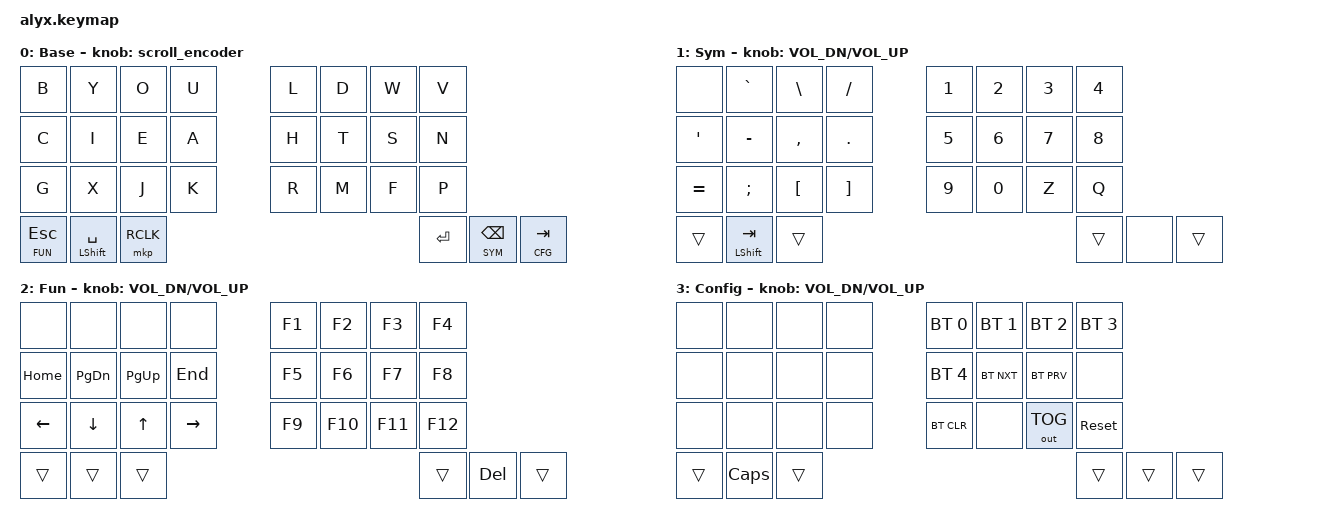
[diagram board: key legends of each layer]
/*
 * Copyright (c) 2020 The ZMK Contributors
 *
 * SPDX-License-Identifier: MIT
 */

#include <behaviors.dtsi>
#include <dt-bindings/zmk/keys.h>
#include <dt-bindings/zmk/bt.h>
#include <dt-bindings/zmk/outputs.h>
#include <dt-bindings/zmk/pointing.h>

#define BAS 0
#define SYM 1
#define FUN 2
#define CFG 3

&mmv {
	trigger-period-ms = <12>;
};

&msc {
	trigger-period-ms = <12>;
	time-to-max-speed-ms = <50>;
	acceleration-exponent = <1>;
};

/ {
	behaviors {
		scroll_encoder: scroll_encoder {
			compatible = "zmk,behavior-sensor-rotate";
			#sensor-binding-cells = <0>;
			bindings = <&msc MOVE_Y(72)>, <&msc MOVE_Y(-72)>;
			tap-ms = <20>;
		};
	};

	macros {
		ZMK_MACRO(save,
			wait-ms = <30>;
			tap-ms = <40>;
			bindings = <&macro_tap &kp ESC &kp COLON &kp W &kp RET>;
		)
	};

	combos {
		compatible = "zmk,combos";
		combos_lgui  { key-positions = <0  8>;  bindings = <&kp LGUI>;  timeout-ms = <50>; };
		combos_lalt  { key-positions = <1  9>;  bindings = <&kp LALT>;  timeout-ms = <50>; };
		combos_lshft { key-positions = <2  10>;  bindings = <&kp LSHFT>; timeout-ms = <50>; };
		combos_lctrl { key-positions = <3  11>;  bindings = <&kp LCTRL>; timeout-ms = <50>; };
		combos_rctrl { key-positions = <4 12>; bindings = <&kp RCTRL>; timeout-ms = <50>; };
		combos_rshft { key-positions = <5 13>; bindings = <&kp RSHFT>; timeout-ms = <50>; };
		combos_ralt  { key-positions = <6 14>; bindings = <&kp RALT>;  timeout-ms = <50>; };
		combos_rgui  { key-positions = <7 15>; bindings = <&kp RGUI>;  timeout-ms = <50>; };
		combos_mclk  { key-positions = <24 25>; bindings = <&mkp MCLK>; timeout-ms = <50>; };
	};

	keymap {
		compatible = "zmk,keymap";
		base_layer {
			display-name = "Base";
			bindings = <
	&kp B &kp Y &kp O &kp U          &kp L &kp D &kp W &kp V      
	&kp C &kp I &kp E &kp A          &kp H &kp T &kp S &kp N       
	&kp G &kp X &kp J &kp K          &kp R &kp M &kp F &kp P     
	&lt FUN ESC &mt LSHFT SPC &mkp RCLK    &kp RET &lt SYM BSPC &lt CFG TAB
			>;
			sensor-bindings = <&scroll_encoder>;
		};

		sym_layer {
			display-name = "Sym";
			bindings = <
	  &none     &kp GRAVE &kp BSLH  &kp FSLH      &kp N1 &kp N2 &kp N3 &kp N4
      &kp SQT   &kp MINUS &kp COMMA &kp DOT       &kp N5 &kp N6 &kp N7 &kp N8
      &kp EQUAL &kp SEMI  &kp LBKT  &kp RBKT      &kp N9 &kp N0 &kp Z  &kp Q
                &trans &mt LSHFT TAB &trans &trans &none &trans
			>;
			sensor-bindings = <&inc_dec_kp C_VOL_DN C_VOL_UP>;
		};

		fun_layer {
			display-name = "Fun";
			bindings = <
      &none    &none     &none     &none     &kp F1  &kp F2  &kp F3  &kp F4
      &kp HOME &kp PG_DN &kp PG_UP &kp END   &kp F5  &kp F6  &kp F7  &kp F8
      &kp LEFT &kp DOWN  &kp UP    &kp RIGHT &kp F9  &kp F10 &kp F11 &kp F12
      &trans &trans    &trans    &trans &kp DEL &trans
			>;
			sensor-bindings = <&inc_dec_kp C_VOL_DN C_VOL_UP>;
		};

		cfg_layer {
			display-name = "Config";
			bindings = <
      &none &none &none &none    &bt BT_SEL 0 &bt BT_SEL 1 &bt BT_SEL 2 &bt BT_SEL 3
      &none &none &none &none    &bt BT_SEL 4 &bt BT_NXT   &bt BT_PRV   &none
      &none &none &none &none    &bt BT_CLR   &none        &out OUT_TOG &sys_reset
       &trans &kp CAPS &trans    &trans       &trans       &trans
			>;
			sensor-bindings = <&inc_dec_kp C_VOL_DN C_VOL_UP>;
		};
	};
};
